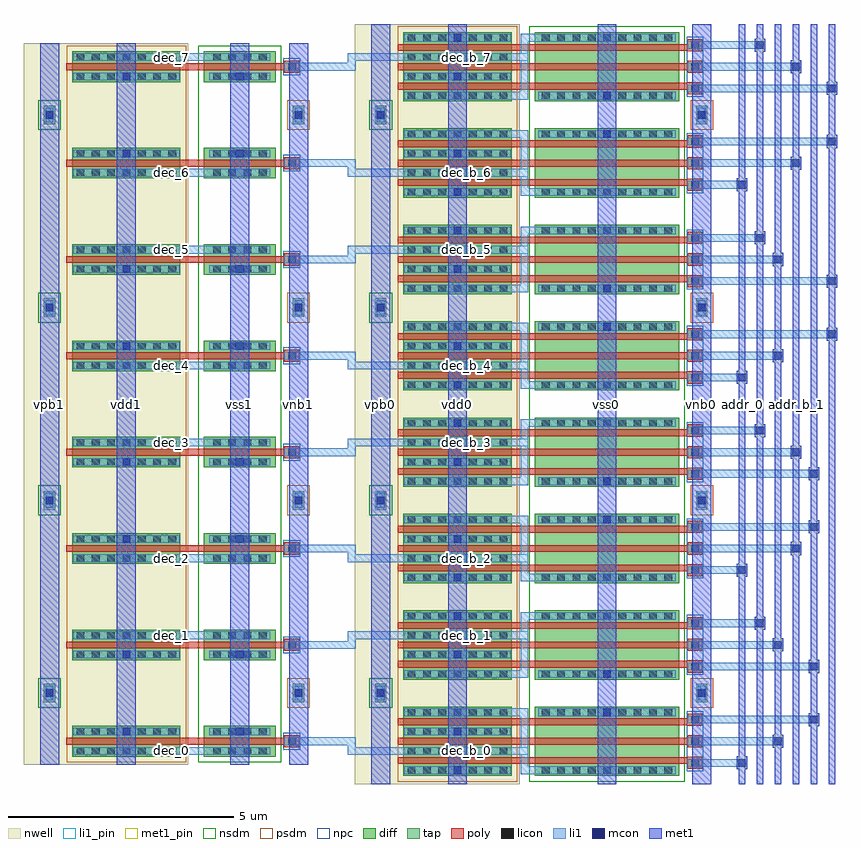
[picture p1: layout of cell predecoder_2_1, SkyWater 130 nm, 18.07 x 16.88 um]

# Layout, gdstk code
from math import pi, radians
import gdstk
lib = gdstk.Library(unit=1e-6, precision=1e-09)
def R(c, l, rs):  # rectangles x0, y0, x1, y1
    for r in rs: c.add(gdstk.rectangle(r[:2], r[2:], *l))
def A(c, l, x, y, w, h, nx, ny, dx, dy):  # array of equal rectangles
    R(c, l, [(x+i*dx, y+j*dy, x+i*dx+w, y+j*dy+h) for i in range(nx) for j in range(ny)])
nwell = (64, 20)
diff = (65, 20)
tap = (65, 44)
poly = (66, 20)
licon = (66, 44)
li1_pin = (67, 16)
li1 = (67, 20)
mcon = (67, 44)
met1_pin = (68, 16)
met1 = (68, 20)
nsdm = (93, 44)
psdm = (94, 20)
npc = (95, 20)

ntap_1x1v = lib.new_cell('ntap_1x1v')
R(ntap_1x1v, tap, [(-0.04,-0.12,0.21,0.29)])
R(ntap_1x1v, licon, [(0,0,0.17,0.17)])
R(ntap_1x1v, li1, [(0,-0.08,0.17,0.25)])
R(ntap_1x1v, nsdm, [(-0.165,-0.245,0.335,0.415)])

ptap_1x1v = lib.new_cell('ptap_1x1v')
R(ptap_1x1v, tap, [(-0.04,-0.12,0.21,0.29)])
R(ptap_1x1v, licon, [(0,0,0.17,0.17)])
R(ptap_1x1v, li1, [(0,-0.08,0.17,0.25)])
R(ptap_1x1v, psdm, [(-0.165,-0.245,0.335,0.415)])

viali_1x1v = lib.new_cell('viali_1x1v')
R(viali_1x1v, li1, [(0,0,0.17,0.17)])
R(viali_1x1v, mcon, [(0,0,0.17,0.17)])
R(viali_1x1v, met1, [(-0.03,-0.06,0.2,0.23)])

viali_1x1h = lib.new_cell('viali_1x1h')
R(viali_1x1h, li1, [(0,0,0.17,0.17)])
R(viali_1x1h, mcon, [(0,0,0.17,0.17)])
R(viali_1x1h, met1, [(-0.06,-0.03,0.23,0.2)])

predecoder_2_1_and_array = lib.new_cell('predecoder_2_1_and_array_nand_array_route')
R(predecoder_2_1_and_array, met1, [(-0.715,-0.18,-0.295,16.7), (1.39,-0.18,1.81,16.7), (4.71,-0.18,5.13,16.7), (4.71,-0.18,5.13,16.7), (6.415,-0.18,6.835,16.7)])
predecoder_2_1_and_array.add(gdstk.Reference(viali_1x1v, (6.54,1.755)))
predecoder_2_1_and_array.add(gdstk.Reference(viali_1x1v, (6.54,6.035)))
predecoder_2_1_and_array.add(gdstk.Reference(viali_1x1v, (6.54,10.315)))
predecoder_2_1_and_array.add(gdstk.Reference(viali_1x1v, (6.54,14.595)))
predecoder_2_1_and_array.add(gdstk.Reference(viali_1x1v, (-0.59,1.755)))
predecoder_2_1_and_array.add(gdstk.Reference(viali_1x1v, (-0.59,6.035)))
predecoder_2_1_and_array.add(gdstk.Reference(viali_1x1v, (-0.59,10.315)))
predecoder_2_1_and_array.add(gdstk.Reference(viali_1x1v, (-0.59,14.595)))
predecoder_2_1_and_array.add(gdstk.Reference(viali_1x1h, (4.835,0.9)))
predecoder_2_1_and_array.add(gdstk.Reference(viali_1x1h, (4.835,2.61)))
predecoder_2_1_and_array.add(gdstk.Reference(viali_1x1h, (4.835,5.18)))
predecoder_2_1_and_array.add(gdstk.Reference(viali_1x1h, (4.835,6.89)))
predecoder_2_1_and_array.add(gdstk.Reference(viali_1x1h, (4.835,9.46)))
predecoder_2_1_and_array.add(gdstk.Reference(viali_1x1h, (4.835,11.17)))
predecoder_2_1_and_array.add(gdstk.Reference(viali_1x1h, (4.835,13.74)))
predecoder_2_1_and_array.add(gdstk.Reference(viali_1x1h, (4.835,15.45)))
predecoder_2_1_and_array.add(gdstk.Reference(viali_1x1h, (4.835,0.04)))
predecoder_2_1_and_array.add(gdstk.Reference(viali_1x1h, (4.835,3.47)))
predecoder_2_1_and_array.add(gdstk.Reference(viali_1x1h, (4.835,4.32)))
predecoder_2_1_and_array.add(gdstk.Reference(viali_1x1h, (4.835,7.75)))
predecoder_2_1_and_array.add(gdstk.Reference(viali_1x1h, (4.835,8.6)))
predecoder_2_1_and_array.add(gdstk.Reference(viali_1x1h, (4.835,12.03)))
predecoder_2_1_and_array.add(gdstk.Reference(viali_1x1h, (4.835,12.88)))
predecoder_2_1_and_array.add(gdstk.Reference(viali_1x1h, (4.835,16.31)))
predecoder_2_1_and_array.add(gdstk.Reference(viali_1x1h, (1.515,1.33)))
predecoder_2_1_and_array.add(gdstk.Reference(viali_1x1h, (1.515,2.18)))
predecoder_2_1_and_array.add(gdstk.Reference(viali_1x1h, (1.515,5.61)))
predecoder_2_1_and_array.add(gdstk.Reference(viali_1x1h, (1.515,6.46)))
predecoder_2_1_and_array.add(gdstk.Reference(viali_1x1h, (1.515,9.89)))
predecoder_2_1_and_array.add(gdstk.Reference(viali_1x1h, (1.515,10.74)))
predecoder_2_1_and_array.add(gdstk.Reference(viali_1x1h, (1.515,14.17)))
predecoder_2_1_and_array.add(gdstk.Reference(viali_1x1h, (1.515,15.02)))

polyc_1x1h = lib.new_cell('polyc_1x1h')
R(polyc_1x1h, poly, [(-0.08,-0.05,0.25,0.22)])
R(polyc_1x1h, licon, [(0,0,0.17,0.17)])
R(polyc_1x1h, li1, [(-0.08,0,0.25,0.17)])
R(polyc_1x1h, npc, [(-0.1,-0.1,0.27,0.27)])

ndiffc_1x9h = lib.new_cell('ndiffc_1x9h')
R(ndiffc_1x9h, diff, [(-0.06,-0.04,2.95,0.21)])
A(ndiffc_1x9h, licon, 0, 0, 0.17, 0.17, 9, 1, 0.34, 0)
R(ndiffc_1x9h, li1, [(-0.08,0,2.97,0.17)])
R(ndiffc_1x9h, nsdm, [(-0.185,-0.165,3.075,0.335)])

pdiffc_1x7h = lib.new_cell('pdiffc_1x7h')
R(pdiffc_1x7h, nwell, [(-0.24,-0.22,2.45,0.39)])
R(pdiffc_1x7h, diff, [(-0.06,-0.04,2.27,0.21)])
A(pdiffc_1x7h, licon, 0, 0, 0.17, 0.17, 7, 1, 0.34, 0)
R(pdiffc_1x7h, li1, [(-0.08,0,2.29,0.17)])
R(pdiffc_1x7h, psdm, [(-0.185,-0.165,2.395,0.335)])

ptx__nmos_svt_3200_150_3 = lib.new_cell('ptx__nmos_svt_3200_150_3__pmos_svt_2400_150_3')
R(ptx__nmos_svt_3200_150_3, nwell, [(3.54,-0.18,6.3,1.72)])
R(ptx__nmos_svt_3200_150_3, diff, [(0,0,3.2,1.54), (3.72,0,6.12,1.54)])
A(ptx__nmos_svt_3200_150_3, poly, -0.19, 0.265, 6.44, 0.15, 1, 3, 0, 0.43)
R(ptx__nmos_svt_3200_150_3, nsdm, [(-0.125,-0.125,3.325,1.665)])
R(ptx__nmos_svt_3200_150_3, psdm, [(3.595,-0.125,6.245,1.665)])
R(ptx__nmos_svt_3200_150_3, npc, [(-0.54,0.105,-0.17,1.435)])
ptx__nmos_svt_3200_150_3.add(gdstk.Reference(polyc_1x1h, (-0.44,0.205)))
ptx__nmos_svt_3200_150_3.add(gdstk.Reference(polyc_1x1h, (-0.44,0.685)))
ptx__nmos_svt_3200_150_3.add(gdstk.Reference(polyc_1x1h, (-0.44,1.165)))
ptx__nmos_svt_3200_150_3.add(gdstk.Reference(ndiffc_1x9h, (0.155,0.04)))
ptx__nmos_svt_3200_150_3.add(gdstk.Reference(pdiffc_1x7h, (3.815,0.04)))
ptx__nmos_svt_3200_150_3.add(gdstk.Reference(pdiffc_1x7h, (3.815,0.47)))
ptx__nmos_svt_3200_150_3.add(gdstk.Reference(pdiffc_1x7h, (3.815,0.9)))
ptx__nmos_svt_3200_150_3.add(gdstk.Reference(ndiffc_1x9h, (0.155,1.33)))
ptx__nmos_svt_3200_150_3.add(gdstk.Reference(pdiffc_1x7h, (3.815,1.33)))

predecoder_2_nand_1 = lib.new_cell('predecoder_2_nand_1')
R(predecoder_2_nand_1, li1, [(3.345,0.04,3.515,1.5), (3.345,0.04,6.105,0.21), (3.345,0.9,6.105,1.07), (0.075,1.33,3.515,1.5)])
predecoder_2_nand_1.add(gdstk.Reference(ptx__nmos_svt_3200_150_3, (0,0)))

c_predecoder_2_1_and_array = lib.new_cell('predecoder_2_1_and_array_nand_array_array')
c_predecoder_2_1_and_array.add(gdstk.Reference(predecoder_2_nand_1, (0,1.54), x_reflection=True))
c_predecoder_2_1_and_array.add(gdstk.Reference(predecoder_2_nand_1, (0,2.14)))
c_predecoder_2_1_and_array.add(gdstk.Reference(predecoder_2_nand_1, (0,5.82), x_reflection=True))
c_predecoder_2_1_and_array.add(gdstk.Reference(predecoder_2_nand_1, (0,6.42)))
c_predecoder_2_1_and_array.add(gdstk.Reference(predecoder_2_nand_1, (0,10.1), x_reflection=True))
c_predecoder_2_1_and_array.add(gdstk.Reference(predecoder_2_nand_1, (0,10.7)))
c_predecoder_2_1_and_array.add(gdstk.Reference(predecoder_2_nand_1, (0,14.38), x_reflection=True))
c_predecoder_2_1_and_array.add(gdstk.Reference(predecoder_2_nand_1, (0,14.98)))

c_predecoder_2_1_and_array_ = lib.new_cell('predecoder_2_1_and_array_nand_array')
R(c_predecoder_2_1_and_array_, nwell, [(3.54,-0.18,7.2,16.7)])
R(c_predecoder_2_1_and_array_, met1_pin, [(-0.715,-0.18,-0.295,16.7), (1.39,-0.18,1.81,16.7), (4.71,-0.18,5.13,16.7), (6.415,-0.18,6.835,16.7)])
R(c_predecoder_2_1_and_array_, nsdm, [(-0.125,-0.125,3.325,16.645)])
R(c_predecoder_2_1_and_array_, psdm, [(3.595,-0.125,6.245,16.645)])
c_predecoder_2_1_and_array_.add(gdstk.Reference(ntap_1x1v, (6.54,1.755)))
c_predecoder_2_1_and_array_.add(gdstk.Reference(ntap_1x1v, (6.54,6.035)))
c_predecoder_2_1_and_array_.add(gdstk.Reference(ntap_1x1v, (6.54,10.315)))
c_predecoder_2_1_and_array_.add(gdstk.Reference(ntap_1x1v, (6.54,14.595)))
c_predecoder_2_1_and_array_.add(gdstk.Reference(ptap_1x1v, (-0.59,1.755)))
c_predecoder_2_1_and_array_.add(gdstk.Reference(ptap_1x1v, (-0.59,6.035)))
c_predecoder_2_1_and_array_.add(gdstk.Reference(ptap_1x1v, (-0.59,10.315)))
c_predecoder_2_1_and_array_.add(gdstk.Reference(ptap_1x1v, (-0.59,14.595)))
c_predecoder_2_1_and_array_.add(gdstk.Reference(predecoder_2_1_and_array, (0,0)))
c_predecoder_2_1_and_array_.add(gdstk.Reference(c_predecoder_2_1_and_array, (0,0)))
c_predecoder_2_1_and_array_.add(gdstk.Label('vpb', (6.625,8.26), layer=68, texttype=16))
c_predecoder_2_1_and_array_.add(gdstk.Label('vnb', (-0.505,8.26), layer=68, texttype=16))
c_predecoder_2_1_and_array_.add(gdstk.Label('vdd0', (4.92,8.26), layer=68, texttype=16))
c_predecoder_2_1_and_array_.add(gdstk.Label('vss', (1.6,8.26), layer=68, texttype=16))

c_predecoder_2_1_and_array__ = lib.new_cell('predecoder_2_1_and_array_inv_array_route')
R(c_predecoder_2_1_and_array__, met1, [(-0.715,-0.18,-0.295,15.84), (0.59,-0.18,1.01,15.84), (3.11,-0.18,3.53,15.84), (4.815,-0.18,5.235,15.84)])
c_predecoder_2_1_and_array__.add(gdstk.Reference(viali_1x1v, (4.94,1.325)))
c_predecoder_2_1_and_array__.add(gdstk.Reference(viali_1x1v, (4.94,5.605)))
c_predecoder_2_1_and_array__.add(gdstk.Reference(viali_1x1v, (4.94,9.885)))
c_predecoder_2_1_and_array__.add(gdstk.Reference(viali_1x1v, (4.94,14.165)))
c_predecoder_2_1_and_array__.add(gdstk.Reference(viali_1x1v, (-0.59,1.325)))
c_predecoder_2_1_and_array__.add(gdstk.Reference(viali_1x1v, (-0.59,5.605)))
c_predecoder_2_1_and_array__.add(gdstk.Reference(viali_1x1v, (-0.59,9.885)))
c_predecoder_2_1_and_array__.add(gdstk.Reference(viali_1x1v, (-0.59,14.165)))
c_predecoder_2_1_and_array__.add(gdstk.Reference(viali_1x1h, (3.235,0.47)))
c_predecoder_2_1_and_array__.add(gdstk.Reference(viali_1x1h, (3.235,2.18)))
c_predecoder_2_1_and_array__.add(gdstk.Reference(viali_1x1h, (3.235,4.75)))
c_predecoder_2_1_and_array__.add(gdstk.Reference(viali_1x1h, (3.235,6.46)))
c_predecoder_2_1_and_array__.add(gdstk.Reference(viali_1x1h, (3.235,9.03)))
c_predecoder_2_1_and_array__.add(gdstk.Reference(viali_1x1h, (3.235,10.74)))
c_predecoder_2_1_and_array__.add(gdstk.Reference(viali_1x1h, (3.235,13.31)))
c_predecoder_2_1_and_array__.add(gdstk.Reference(viali_1x1h, (3.235,15.02)))
c_predecoder_2_1_and_array__.add(gdstk.Reference(viali_1x1h, (0.715,0.47)))
c_predecoder_2_1_and_array__.add(gdstk.Reference(viali_1x1h, (0.715,2.18)))
c_predecoder_2_1_and_array__.add(gdstk.Reference(viali_1x1h, (0.715,4.75)))
c_predecoder_2_1_and_array__.add(gdstk.Reference(viali_1x1h, (0.715,6.46)))
c_predecoder_2_1_and_array__.add(gdstk.Reference(viali_1x1h, (0.715,9.03)))
c_predecoder_2_1_and_array__.add(gdstk.Reference(viali_1x1h, (0.715,10.74)))
c_predecoder_2_1_and_array__.add(gdstk.Reference(viali_1x1h, (0.715,13.31)))
c_predecoder_2_1_and_array__.add(gdstk.Reference(viali_1x1h, (0.715,15.02)))

ndiffc_1x4h = lib.new_cell('ndiffc_1x4h')
R(ndiffc_1x4h, diff, [(-0.06,-0.04,1.25,0.21)])
A(ndiffc_1x4h, licon, 0, 0, 0.17, 0.17, 4, 1, 0.34, 0)
R(ndiffc_1x4h, li1, [(-0.08,0,1.27,0.17)])
R(ndiffc_1x4h, nsdm, [(-0.185,-0.165,1.375,0.335)])

ptx__nmos_svt_1600_150_1 = lib.new_cell('ptx__nmos_svt_1600_150_1__pmos_svt_2400_150_1')
R(ptx__nmos_svt_1600_150_1, nwell, [(1.94,-0.18,4.7,0.86)])
R(ptx__nmos_svt_1600_150_1, diff, [(0,0,1.6,0.68), (2.12,0,4.52,0.68)])
R(ptx__nmos_svt_1600_150_1, poly, [(-0.19,0.265,4.65,0.415)])
R(ptx__nmos_svt_1600_150_1, nsdm, [(-0.125,-0.125,1.725,0.805)])
R(ptx__nmos_svt_1600_150_1, psdm, [(1.995,-0.125,4.645,0.805)])
R(ptx__nmos_svt_1600_150_1, npc, [(-0.54,0.155,-0.17,0.525)])
ptx__nmos_svt_1600_150_1.add(gdstk.Reference(polyc_1x1h, (-0.44,0.255)))
ptx__nmos_svt_1600_150_1.add(gdstk.Reference(ndiffc_1x4h, (0.205,0.04)))
ptx__nmos_svt_1600_150_1.add(gdstk.Reference(pdiffc_1x7h, (2.215,0.04)))
ptx__nmos_svt_1600_150_1.add(gdstk.Reference(ndiffc_1x4h, (0.205,0.47)))
ptx__nmos_svt_1600_150_1.add(gdstk.Reference(pdiffc_1x7h, (2.215,0.47)))

predecoder_2_inv_1 = lib.new_cell('predecoder_2_inv_1')
R(predecoder_2_inv_1, li1, [(0.125,0.47,4.505,0.64)])
predecoder_2_inv_1.add(gdstk.Reference(ptx__nmos_svt_1600_150_1, (0,0)))

c_predecoder_2_1_and_array___ = lib.new_cell('predecoder_2_1_and_array_inv_array_array')
c_predecoder_2_1_and_array___.add(gdstk.Reference(predecoder_2_inv_1, (0,0.68), x_reflection=True))
c_predecoder_2_1_and_array___.add(gdstk.Reference(predecoder_2_inv_1, (0,2.14)))
c_predecoder_2_1_and_array___.add(gdstk.Reference(predecoder_2_inv_1, (0,4.96), x_reflection=True))
c_predecoder_2_1_and_array___.add(gdstk.Reference(predecoder_2_inv_1, (0,6.42)))
c_predecoder_2_1_and_array___.add(gdstk.Reference(predecoder_2_inv_1, (0,9.24), x_reflection=True))
c_predecoder_2_1_and_array___.add(gdstk.Reference(predecoder_2_inv_1, (0,10.7)))
c_predecoder_2_1_and_array___.add(gdstk.Reference(predecoder_2_inv_1, (0,13.52), x_reflection=True))
c_predecoder_2_1_and_array___.add(gdstk.Reference(predecoder_2_inv_1, (0,14.98)))

c_predecoder_2_1_and_array____ = lib.new_cell('predecoder_2_1_and_array_inv_array')
R(c_predecoder_2_1_and_array____, nwell, [(1.94,-0.18,5.6,15.84)])
R(c_predecoder_2_1_and_array____, met1_pin, [(-0.715,-0.18,-0.295,15.84), (0.59,-0.18,1.01,15.84), (3.11,-0.18,3.53,15.84), (4.815,-0.18,5.235,15.84)])
R(c_predecoder_2_1_and_array____, nsdm, [(-0.125,-0.125,1.725,15.785)])
R(c_predecoder_2_1_and_array____, psdm, [(1.995,-0.125,4.645,15.785)])
c_predecoder_2_1_and_array____.add(gdstk.Reference(ntap_1x1v, (4.94,1.325)))
c_predecoder_2_1_and_array____.add(gdstk.Reference(ntap_1x1v, (4.94,5.605)))
c_predecoder_2_1_and_array____.add(gdstk.Reference(ntap_1x1v, (4.94,9.885)))
c_predecoder_2_1_and_array____.add(gdstk.Reference(ntap_1x1v, (4.94,14.165)))
c_predecoder_2_1_and_array____.add(gdstk.Reference(ptap_1x1v, (-0.59,1.325)))
c_predecoder_2_1_and_array____.add(gdstk.Reference(ptap_1x1v, (-0.59,5.605)))
c_predecoder_2_1_and_array____.add(gdstk.Reference(ptap_1x1v, (-0.59,9.885)))
c_predecoder_2_1_and_array____.add(gdstk.Reference(ptap_1x1v, (-0.59,14.165)))
c_predecoder_2_1_and_array____.add(gdstk.Reference(c_predecoder_2_1_and_array__, (0,0)))
c_predecoder_2_1_and_array____.add(gdstk.Reference(c_predecoder_2_1_and_array___, (0,0)))
c_predecoder_2_1_and_array____.add(gdstk.Label('vpb', (5.025,7.83), layer=68, texttype=16))
c_predecoder_2_1_and_array____.add(gdstk.Label('vnb', (-0.505,7.83), layer=68, texttype=16))
c_predecoder_2_1_and_array____.add(gdstk.Label('vdd', (3.32,7.83), layer=68, texttype=16))
c_predecoder_2_1_and_array____.add(gdstk.Label('vss', (0.8,7.83), layer=68, texttype=16))

c_predecoder_2_1_and_array_____ = lib.new_cell('predecoder_2_1_and_array_route')
A(c_predecoder_2_1_and_array_____, li1, 7.355, 0.685, 1.08, 0.17, 1, 8, 0, 2.14)
R(c_predecoder_2_1_and_array_____, li1, [(3.345,0.47,6.105,0.64), (6.105,0.47,7.185,0.64), (7.185,0.47,7.355,0.855), (7.185,2.825,7.355,3.21), (3.345,3.04,6.105,3.21), (6.105,3.04,7.185,3.21), (3.345,4.75,6.105,4.92), (6.105,4.75,7.185,4.92), (7.185,4.75,7.355,5.135), (7.185,7.105,7.355,7.49), (3.345,7.32,6.105,7.49), (6.105,7.32,7.185,7.49), (3.345,9.03,6.105,9.2), (6.105,9.03,7.185,9.2), (7.185,9.03,7.355,9.415), (7.185,11.385,7.355,11.77), (3.345,11.6,6.105,11.77), (6.105,11.6,7.185,11.77), (3.345,13.31,6.105,13.48), (6.105,13.31,7.185,13.48), (7.185,13.31,7.355,13.695), (7.185,15.665,7.355,16.05), (3.345,15.88,6.105,16.05), (6.105,15.88,7.185,16.05)])

c_predecoder_2_1_and_array______ = lib.new_cell('predecoder_2_1_and_array')
A(c_predecoder_2_1_and_array______, li1_pin, -0.52, 0.205, 0.33, 0.17, 1, 3, 0, 0.48)
A(c_predecoder_2_1_and_array______, li1_pin, -0.52, 2.345, 0.33, 0.17, 1, 3, 0, 0.48)
A(c_predecoder_2_1_and_array______, li1_pin, -0.52, 4.485, 0.33, 0.17, 1, 3, 0, 0.48)
A(c_predecoder_2_1_and_array______, li1_pin, -0.52, 6.625, 0.33, 0.17, 1, 3, 0, 0.48)
A(c_predecoder_2_1_and_array______, li1_pin, -0.52, 8.765, 0.33, 0.17, 1, 3, 0, 0.48)
A(c_predecoder_2_1_and_array______, li1_pin, -0.52, 10.905, 0.33, 0.17, 1, 3, 0, 0.48)
A(c_predecoder_2_1_and_array______, li1_pin, -0.52, 13.045, 0.33, 0.17, 1, 3, 0, 0.48)
A(c_predecoder_2_1_and_array______, li1_pin, -0.52, 15.185, 0.33, 0.17, 1, 3, 0, 0.48)
R(c_predecoder_2_1_and_array______, li1_pin, [(3.345,0.47,6.105,0.64), (9.08,0.47,13.46,0.64), (3.345,3.04,6.105,3.21), (9.08,3.04,13.46,3.21), (3.345,4.75,6.105,4.92), (9.08,4.75,13.46,4.92), (3.345,7.32,6.105,7.49), (9.08,7.32,13.46,7.49), (3.345,9.03,6.105,9.2), (9.08,9.03,13.46,9.2), (3.345,11.6,6.105,11.77), (9.08,11.6,13.46,11.77), (3.345,13.31,6.105,13.48), (9.08,13.31,13.46,13.48), (3.345,15.88,6.105,16.05), (9.08,15.88,13.46,16.05)])
R(c_predecoder_2_1_and_array______, met1_pin, [(-0.715,-0.18,-0.295,16.7), (1.39,-0.18,1.81,16.7), (4.71,-0.18,5.13,16.7), (6.415,-0.18,6.835,16.7), (8.24,0.25,8.66,16.27), (9.545,0.25,9.965,16.27), (12.065,0.25,12.485,16.27), (13.77,0.25,14.19,16.27)])
c_predecoder_2_1_and_array______.add(gdstk.Reference(c_predecoder_2_1_and_array_, (0,0)))
c_predecoder_2_1_and_array______.add(gdstk.Reference(c_predecoder_2_1_and_array____, (8.955,0.43)))
c_predecoder_2_1_and_array______.add(gdstk.Reference(c_predecoder_2_1_and_array_____, (0,0)))
c_predecoder_2_1_and_array______.add(gdstk.Label('a_0', (-0.355,0.29), layer=67, texttype=16))
c_predecoder_2_1_and_array______.add(gdstk.Label('b_0', (-0.355,0.77), layer=67, texttype=16))
c_predecoder_2_1_and_array______.add(gdstk.Label('c_0', (-0.355,1.25), layer=67, texttype=16))
c_predecoder_2_1_and_array______.add(gdstk.Label('y_b_0', (4.725,0.555), layer=67, texttype=16))
c_predecoder_2_1_and_array______.add(gdstk.Label('y_0', (11.27,0.555), layer=67, texttype=16))
c_predecoder_2_1_and_array______.add(gdstk.Label('a_1', (-0.355,3.39), layer=67, texttype=16))
c_predecoder_2_1_and_array______.add(gdstk.Label('b_1', (-0.355,2.91), layer=67, texttype=16))
c_predecoder_2_1_and_array______.add(gdstk.Label('c_1', (-0.355,2.43), layer=67, texttype=16))
c_predecoder_2_1_and_array______.add(gdstk.Label('y_b_1', (4.725,3.125), layer=67, texttype=16))
c_predecoder_2_1_and_array______.add(gdstk.Label('y_1', (11.27,3.125), layer=67, texttype=16))
c_predecoder_2_1_and_array______.add(gdstk.Label('a_2', (-0.355,4.57), layer=67, texttype=16))
c_predecoder_2_1_and_array______.add(gdstk.Label('b_2', (-0.355,5.05), layer=67, texttype=16))
c_predecoder_2_1_and_array______.add(gdstk.Label('c_2', (-0.355,5.53), layer=67, texttype=16))
c_predecoder_2_1_and_array______.add(gdstk.Label('y_b_2', (4.725,4.835), layer=67, texttype=16))
c_predecoder_2_1_and_array______.add(gdstk.Label('y_2', (11.27,4.835), layer=67, texttype=16))
c_predecoder_2_1_and_array______.add(gdstk.Label('a_3', (-0.355,7.67), layer=67, texttype=16))
c_predecoder_2_1_and_array______.add(gdstk.Label('b_3', (-0.355,7.19), layer=67, texttype=16))
c_predecoder_2_1_and_array______.add(gdstk.Label('c_3', (-0.355,6.71), layer=67, texttype=16))
c_predecoder_2_1_and_array______.add(gdstk.Label('y_b_3', (4.725,7.405), layer=67, texttype=16))
c_predecoder_2_1_and_array______.add(gdstk.Label('y_3', (11.27,7.405), layer=67, texttype=16))
c_predecoder_2_1_and_array______.add(gdstk.Label('a_4', (-0.355,8.85), layer=67, texttype=16))
c_predecoder_2_1_and_array______.add(gdstk.Label('b_4', (-0.355,9.33), layer=67, texttype=16))
c_predecoder_2_1_and_array______.add(gdstk.Label('c_4', (-0.355,9.81), layer=67, texttype=16))
c_predecoder_2_1_and_array______.add(gdstk.Label('y_b_4', (4.725,9.115), layer=67, texttype=16))
c_predecoder_2_1_and_array______.add(gdstk.Label('y_4', (11.27,9.115), layer=67, texttype=16))
c_predecoder_2_1_and_array______.add(gdstk.Label('a_5', (-0.355,11.95), layer=67, texttype=16))
c_predecoder_2_1_and_array______.add(gdstk.Label('b_5', (-0.355,11.47), layer=67, texttype=16))
c_predecoder_2_1_and_array______.add(gdstk.Label('c_5', (-0.355,10.99), layer=67, texttype=16))
c_predecoder_2_1_and_array______.add(gdstk.Label('y_b_5', (4.725,11.685), layer=67, texttype=16))
c_predecoder_2_1_and_array______.add(gdstk.Label('y_5', (11.27,11.685), layer=67, texttype=16))
c_predecoder_2_1_and_array______.add(gdstk.Label('a_6', (-0.355,13.13), layer=67, texttype=16))
c_predecoder_2_1_and_array______.add(gdstk.Label('b_6', (-0.355,13.61), layer=67, texttype=16))
c_predecoder_2_1_and_array______.add(gdstk.Label('c_6', (-0.355,14.09), layer=67, texttype=16))
c_predecoder_2_1_and_array______.add(gdstk.Label('y_b_6', (4.725,13.395), layer=67, texttype=16))
c_predecoder_2_1_and_array______.add(gdstk.Label('y_6', (11.27,13.395), layer=67, texttype=16))
c_predecoder_2_1_and_array______.add(gdstk.Label('a_7', (-0.355,16.23), layer=67, texttype=16))
c_predecoder_2_1_and_array______.add(gdstk.Label('b_7', (-0.355,15.75), layer=67, texttype=16))
c_predecoder_2_1_and_array______.add(gdstk.Label('c_7', (-0.355,15.27), layer=67, texttype=16))
c_predecoder_2_1_and_array______.add(gdstk.Label('y_b_7', (4.725,15.965), layer=67, texttype=16))
c_predecoder_2_1_and_array______.add(gdstk.Label('y_7', (11.27,15.965), layer=67, texttype=16))
c_predecoder_2_1_and_array______.add(gdstk.Label('vdd0', (4.92,8.26), layer=68, texttype=16))
c_predecoder_2_1_and_array______.add(gdstk.Label('vss0', (1.6,8.26), layer=68, texttype=16))
c_predecoder_2_1_and_array______.add(gdstk.Label('vnb0', (-0.505,8.26), layer=68, texttype=16))
c_predecoder_2_1_and_array______.add(gdstk.Label('vpb0', (6.625,8.26), layer=68, texttype=16))
c_predecoder_2_1_and_array______.add(gdstk.Label('vdd1', (12.275,8.26), layer=68, texttype=16))
c_predecoder_2_1_and_array______.add(gdstk.Label('vss1', (9.755,8.26), layer=68, texttype=16))
c_predecoder_2_1_and_array______.add(gdstk.Label('vnb1', (8.45,8.26), layer=68, texttype=16))
c_predecoder_2_1_and_array______.add(gdstk.Label('vpb1', (13.98,8.26), layer=68, texttype=16))

predecoder_2_1_route = lib.new_cell('predecoder_2_1_route')
A(predecoder_2_1_route, li1, 13.99, 0.205, 0.33, 0.17, 1, 3, 0, 0.48)
A(predecoder_2_1_route, li1, 14.07, 0.205, 1.2, 0.17, 1, 4, 0, 4.28)
A(predecoder_2_1_route, li1, 13.99, 2.345, 0.33, 0.17, 1, 3, 0, 0.48)
A(predecoder_2_1_route, li1, 14.07, 3.305, 1.6, 0.17, 1, 4, 0, 4.28)
A(predecoder_2_1_route, li1, 13.99, 4.485, 0.33, 0.17, 1, 3, 0, 0.48)
A(predecoder_2_1_route, li1, 13.99, 6.625, 0.33, 0.17, 1, 3, 0, 0.48)
A(predecoder_2_1_route, li1, 13.99, 8.765, 0.33, 0.17, 1, 3, 0, 0.48)
A(predecoder_2_1_route, li1, 13.99, 10.905, 0.33, 0.17, 1, 3, 0, 0.48)
A(predecoder_2_1_route, li1, 13.99, 13.045, 0.33, 0.17, 1, 3, 0, 0.48)
A(predecoder_2_1_route, li1, 13.99, 15.185, 0.33, 0.17, 1, 3, 0, 0.48)
R(predecoder_2_1_route, li1, [(14.07,0.685,16.07,0.855), (14.07,1.165,16.87,1.335), (14.07,2.345,16.87,2.515), (14.07,2.825,16.07,2.995), (14.07,4.965,16.47,5.135), (14.07,5.445,16.87,5.615), (14.07,6.625,16.87,6.795), (14.07,7.105,16.47,7.275), (14.07,9.245,16.07,9.415), (14.07,9.725,17.27,9.895), (14.07,10.905,17.27,11.075), (14.07,11.385,16.07,11.555), (14.07,13.525,16.47,13.695), (14.07,14.005,17.27,14.175), (14.07,15.185,17.27,15.355), (14.07,15.665,16.47,15.835)])
A(predecoder_2_1_route, met1, 15.13, -0.18, 0.14, 16.88, 6, 1, 0.4, 0)
predecoder_2_1_route.add(gdstk.Reference(viali_1x1v, (15.115,0.205)))
predecoder_2_1_route.add(gdstk.Reference(viali_1x1v, (15.915,0.685)))
predecoder_2_1_route.add(gdstk.Reference(viali_1x1v, (16.715,1.165)))
predecoder_2_1_route.add(gdstk.Reference(viali_1x1v, (15.515,3.305)))
predecoder_2_1_route.add(gdstk.Reference(viali_1x1v, (15.915,2.825)))
predecoder_2_1_route.add(gdstk.Reference(viali_1x1v, (16.715,2.345)))
predecoder_2_1_route.add(gdstk.Reference(viali_1x1v, (15.115,4.485)))
predecoder_2_1_route.add(gdstk.Reference(viali_1x1v, (16.315,4.965)))
predecoder_2_1_route.add(gdstk.Reference(viali_1x1v, (16.715,5.445)))
predecoder_2_1_route.add(gdstk.Reference(viali_1x1v, (15.515,7.585)))
predecoder_2_1_route.add(gdstk.Reference(viali_1x1v, (16.315,7.105)))
predecoder_2_1_route.add(gdstk.Reference(viali_1x1v, (16.715,6.625)))
predecoder_2_1_route.add(gdstk.Reference(viali_1x1v, (15.115,8.765)))
predecoder_2_1_route.add(gdstk.Reference(viali_1x1v, (15.915,9.245)))
predecoder_2_1_route.add(gdstk.Reference(viali_1x1v, (17.115,9.725)))
predecoder_2_1_route.add(gdstk.Reference(viali_1x1v, (15.515,11.865)))
predecoder_2_1_route.add(gdstk.Reference(viali_1x1v, (15.915,11.385)))
predecoder_2_1_route.add(gdstk.Reference(viali_1x1v, (17.115,10.905)))
predecoder_2_1_route.add(gdstk.Reference(viali_1x1v, (15.115,13.045)))
predecoder_2_1_route.add(gdstk.Reference(viali_1x1v, (16.315,13.525)))
predecoder_2_1_route.add(gdstk.Reference(viali_1x1v, (17.115,14.005)))
predecoder_2_1_route.add(gdstk.Reference(viali_1x1v, (15.515,16.145)))
predecoder_2_1_route.add(gdstk.Reference(viali_1x1v, (16.315,15.665)))
predecoder_2_1_route.add(gdstk.Reference(viali_1x1v, (17.115,15.185)))

predecoder_2_1 = lib.new_cell('predecoder_2_1')
R(predecoder_2_1, li1_pin, [(0.34,0.47,4.72,0.64), (7.695,0.47,10.455,0.64), (0.34,3.04,4.72,3.21), (7.695,3.04,10.455,3.21), (0.34,4.75,4.72,4.92), (7.695,4.75,10.455,4.92), (0.34,7.32,4.72,7.49), (7.695,7.32,10.455,7.49), (0.34,9.03,4.72,9.2), (7.695,9.03,10.455,9.2), (0.34,11.6,4.72,11.77), (7.695,11.6,10.455,11.77), (0.34,13.31,4.72,13.48), (7.695,13.31,10.455,13.48), (0.34,15.88,4.72,16.05), (7.695,15.88,10.455,16.05)])
A(predecoder_2_1, met1_pin, 15.13, -0.18, 0.14, 16.88, 6, 1, 0.4, 0)
R(predecoder_2_1, met1_pin, [(6.965,-0.18,7.385,16.7), (8.67,-0.18,9.09,16.7), (11.99,-0.18,12.41,16.7), (14.095,-0.18,14.515,16.7), (-0.39,0.25,0.03,16.27), (1.315,0.25,1.735,16.27), (3.835,0.25,4.255,16.27), (5.14,0.25,5.56,16.27)])
predecoder_2_1.add(gdstk.Reference(c_predecoder_2_1_and_array______, (13.8,0), rotation=pi, x_reflection=True))
predecoder_2_1.add(gdstk.Reference(predecoder_2_1_route, (0,0)))
predecoder_2_1.add(gdstk.Label('dec_0', (2.53,0.555), layer=67, texttype=16))
predecoder_2_1.add(gdstk.Label('dec_b_0', (9.075,0.555), layer=67, texttype=16))
predecoder_2_1.add(gdstk.Label('dec_1', (2.53,3.125), layer=67, texttype=16))
predecoder_2_1.add(gdstk.Label('dec_b_1', (9.075,3.125), layer=67, texttype=16))
predecoder_2_1.add(gdstk.Label('dec_2', (2.53,4.835), layer=67, texttype=16))
predecoder_2_1.add(gdstk.Label('dec_b_2', (9.075,4.835), layer=67, texttype=16))
predecoder_2_1.add(gdstk.Label('dec_3', (2.53,7.405), layer=67, texttype=16))
predecoder_2_1.add(gdstk.Label('dec_b_3', (9.075,7.405), layer=67, texttype=16))
predecoder_2_1.add(gdstk.Label('dec_4', (2.53,9.115), layer=67, texttype=16))
predecoder_2_1.add(gdstk.Label('dec_b_4', (9.075,9.115), layer=67, texttype=16))
predecoder_2_1.add(gdstk.Label('dec_5', (2.53,11.685), layer=67, texttype=16))
predecoder_2_1.add(gdstk.Label('dec_b_5', (9.075,11.685), layer=67, texttype=16))
predecoder_2_1.add(gdstk.Label('dec_6', (2.53,13.395), layer=67, texttype=16))
predecoder_2_1.add(gdstk.Label('dec_b_6', (9.075,13.395), layer=67, texttype=16))
predecoder_2_1.add(gdstk.Label('dec_7', (2.53,15.965), layer=67, texttype=16))
predecoder_2_1.add(gdstk.Label('dec_b_7', (9.075,15.965), layer=67, texttype=16))
predecoder_2_1.add(gdstk.Label('addr_0', (15.2,8.26), layer=68, texttype=16))
predecoder_2_1.add(gdstk.Label('addr_b_0', (15.6,8.26), layer=68, texttype=16))
predecoder_2_1.add(gdstk.Label('addr_1', (16,8.26), layer=68, texttype=16))
predecoder_2_1.add(gdstk.Label('addr_b_1', (16.4,8.26), layer=68, texttype=16))
predecoder_2_1.add(gdstk.Label('addr_2', (16.8,8.26), layer=68, texttype=16))
predecoder_2_1.add(gdstk.Label('addr_b_2', (17.2,8.26), layer=68, texttype=16))
predecoder_2_1.add(gdstk.Label('vpb0', (7.175,8.26), layer=68, texttype=16))
predecoder_2_1.add(gdstk.Label('vpb1', (-0.18,8.26), layer=68, texttype=16))
predecoder_2_1.add(gdstk.Label('vnb0', (14.305,8.26), layer=68, texttype=16))
predecoder_2_1.add(gdstk.Label('vnb1', (5.35,8.26), layer=68, texttype=16))
predecoder_2_1.add(gdstk.Label('vdd0', (8.88,8.26), layer=68, texttype=16))
predecoder_2_1.add(gdstk.Label('vdd1', (1.525,8.26), layer=68, texttype=16))
predecoder_2_1.add(gdstk.Label('vss0', (12.2,8.26), layer=68, texttype=16))
predecoder_2_1.add(gdstk.Label('vss1', (4.045,8.26), layer=68, texttype=16))

lib.write_gds('predecoder_2_1.gds')
